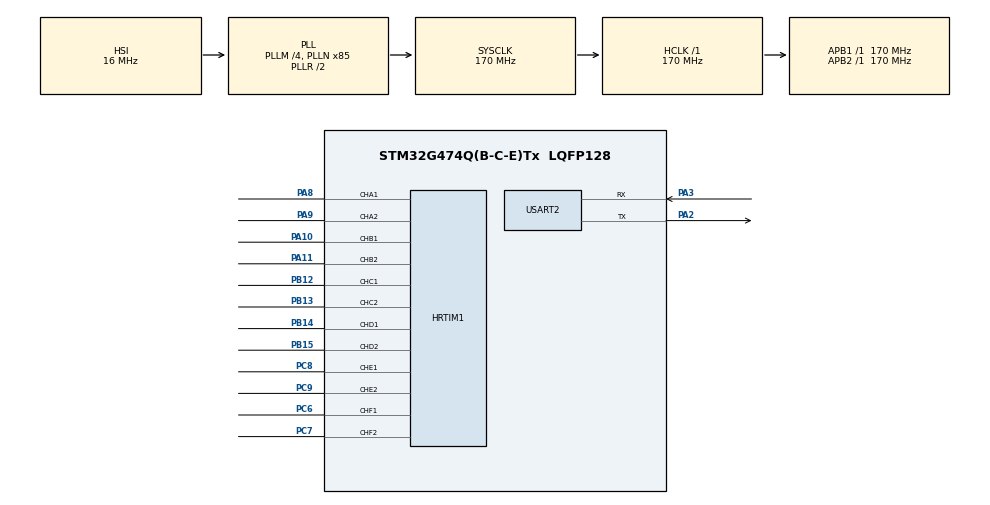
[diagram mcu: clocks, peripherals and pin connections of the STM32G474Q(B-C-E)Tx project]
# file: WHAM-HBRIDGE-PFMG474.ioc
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HRTIM1.PrescalerRatio_MASTER=HRTIM_PRESCALERRATIO_DIV1
HRTIM1.PrescalerRatio_TA=HRTIM_PRESCALERRATIO_DIV1
HRTIM1.PrescalerRatio_TB=HRTIM_PRESCALERRATIO_DIV1
HRTIM1.PrescalerRatio_TC=HRTIM_PRESCALERRATIO_DIV1
HRTIM1.PrescalerRatio_TD=HRTIM_PRESCALERRATIO_DIV1
HRTIM1.PrescalerRatio_TE=HRTIM_PRESCALERRATIO_DIV1
HRTIM1.PrescalerRatio_TF=HRTIM_PRESCALERRATIO_DIV1
Mcu.Family=STM32G4
Mcu.Name=STM32G474Q(B-C-E)Tx
Mcu.Package=LQFP128
NVIC.PriorityGroup=NVIC_PRIORITYGROUP_4
PA10.Mode=Output_TB1TB2
PA10.Signal=HRTIM1_CHB1
PA11.Mode=Output_TB1TB2
PA11.Signal=HRTIM1_CHB2
PA2.Mode=Asynchronous
PA2.Signal=USART2_TX
PA3.Mode=Asynchronous
PA3.Signal=USART2_RX
PA8.Mode=Output_TA1TA2
PA8.Signal=HRTIM1_CHA1
PA9.Mode=Output_TA1TA2
PA9.Signal=HRTIM1_CHA2
PB12.Mode=Output_TC1TC2
PB12.Signal=HRTIM1_CHC1
PB13.Mode=Output_TC1TC2
PB13.Signal=HRTIM1_CHC2
PB14.Mode=Output_TD1TD2
PB14.Signal=HRTIM1_CHD1
PB15.Mode=Output_TD1TD2
PB15.Signal=HRTIM1_CHD2
PC6.Mode=Output_TF1TF2
PC6.Signal=HRTIM1_CHF1
PC7.Mode=Output_TF1TF2
PC7.Signal=HRTIM1_CHF2
PC8.Mode=Output_TE1TE2
PC8.Signal=HRTIM1_CHE1
PC9.Mode=Output_TE1TE2
PC9.Signal=HRTIM1_CHE2
ProjectManager.HeapSize=0x200
ProjectManager.StackSize=0x400
ProjectManager.TargetToolchain=STM32CubeIDE
RCC.AHBFreq_Value=170000000
RCC.APB1Freq_Value=170000000
RCC.APB1TimFreq_Value=170000000
RCC.APB2Freq_Value=170000000
RCC.APB2TimFreq_Value=170000000
RCC.CortexFreq_Value=170000000
RCC.EXTERNAL_CLOCK_VALUE=12288000
RCC.HCLKFreq_Value=170000000
RCC.HSE_VALUE=8000000
RCC.HSI48_VALUE=48000000
RCC.HSI_VALUE=16000000
RCC.LSE_VALUE=32768
RCC.PLLM=RCC_PLLM_DIV4
RCC.PLLN=85
RCC.SYSCLKFreq_VALUE=170000000
RCC.SYSCLKSource=RCC_SYSCLKSOURCE_PLLCLK
RCC.USBFreq_Value=170000000
RCC.VCOOutputFreq_Value=340000000
USART2.VirtualMode-Asynchronous=VM_ASYNC
VP_HRTIM1_VS_hrtimMasterTimerNoOutput.Mode=MasterTimer
VP_SYS_VS_DBSignals.Mode=DisableDeadBatterySignals
board=custom

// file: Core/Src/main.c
/* USER CODE BEGIN Header */
/**
  ******************************************************************************
  * @file           : main.c
  * @brief          : Main program body
  ******************************************************************************
  * @attention
  *
  * Copyright (c) 2026 STMicroelectronics.
  * All rights reserved.
  *
  * This software is licensed under terms that can be found in the LICENSE file
  * in the root directory of this software component.
  * If no LICENSE file comes with this software, it is provided AS-IS.
  *
  ******************************************************************************
  */
/* USER CODE END Header */
#include "main.h"

/* USER CODE BEGIN Includes */
#include "app.h"
#include "boot_jump.h"
#include "board_io.h"
#include "boot_diag.h"
#include "hrtim_hw.h"
#include "mcu.h"
#include "uart_hw.h"
/* USER CODE END Includes */

UART_HandleTypeDef huart2;

void SystemClock_Config(void);
static void MX_GPIO_Init(void);
static void MX_USART2_UART_Init(void);
static void MX_HRTIM1_Init(void);

int main(void)
{

  /* USER CODE BEGIN 1 */

  /* Must be the very first thing that runs -- before HAL_Init() and
     therefore before any clock/peripheral configuration. See
     boot_jump.c: if cmd_boot() (over USART2) requested a bootloader
     entry on the last reset, this diverts into the ROM bootloader from
     this still-clean, just-reset state and never returns. Otherwise it
     returns immediately (always the case when BOOT_JUMP_FEATURE_ENABLED
     is 0) and startup proceeds normally below -- unconditional on
     purpose, so this call site never needs its own #if. */
  BootJump_CheckAndEnter();

  /* Boot diagnostics (boot_diag.h): keep the previous boot's record for
     the !BOOT banner and start this boot's. */
  BootDiag_Begin();

  /* USER CODE END 1 */

  /* MCU Configuration--------------------------------------------------------*/

  /* Reset of all peripherals, Initializes the Flash interface and the Systick. */
  HAL_Init();

  /* USER CODE BEGIN Init */
  /* Must run immediately after HAL_Init() -- HAL_InitTick() (called
     inside HAL_Init()) sets SysTick to its default TICK_INT_PRIORITY
     (15, the lowest possible), which this overrides. See
     Mcu_SetSysTickHighestPriority()'s own doc comment (mcu.c) for the full
     priority-inversion window this closes -- placed here, as early as
     possible, so nothing between here and HRTIM1_EnableMasterInterrupt()
     (which sets HRTIM1_Master_IRQn's priority, later in USER CODE 2)
     can be exposed to it, however briefly. Ported from the sibling
     PFM-STM32G474 project's main.c, same placement. */
  Mcu_SetSysTickHighestPriority();
  BOOT_DIAG_STAGE(BD_STAGE_HAL_INIT);
  /* USER CODE END Init */

  /* Configure the system clock */
  SystemClock_Config();

  /* USER CODE BEGIN SysInit */
  BOOT_DIAG_STAGE(BD_STAGE_CLOCK);
  /* USER CODE END SysInit */

  /* Initialize all configured peripherals */
  MX_GPIO_Init();
  MX_HRTIM1_Init();
  MX_USART2_UART_Init();
  /* USER CODE BEGIN 2 */
  uart_bind(&uart2, &huart2);
  App_Init();
  BOOT_DIAG_STAGE(BD_STAGE_APP_INIT);
  App_SendBootBanner();
  BOOT_DIAG_STAGE(BD_STAGE_MAIN_LOOP);
  /* USER CODE END 2 */

  /* Infinite loop */
  while (1)
  {

    /* USER CODE BEGIN 3 */
    App_Poll();
  }
  /* USER CODE END 3 */
}

void SystemClock_Config(void)
{
  RCC_OscInitTypeDef RCC_OscInitStruct = {0};
  RCC_ClkInitTypeDef RCC_ClkInitStruct = {0};

  /* Copied directly from the sibling PFM-STM32G474 project's
     SystemClock_Config() (170 MHz HSI/PLL config), not derived via
     CubeMX's own auto-resolve -- see AGENTS.md / docs/changelog.txt for
     why: enabling HRTIM1 through the CubeMX GUI on 2026-09-04 triggered
     its "resolve clock issues" auto-fix, which silently picked its own
     unrelated 104 MHz PLL config (PLLN=13) instead. hrtim.c's whole
     timing model -- HRTIM_TIMER_CLK_HZ, the hardcoded Period=1699 for
     100 kHz, the 17-count/100 ns dead time -- assumes exactly this
     170 MHz derivation (HSI 16 MHz / PLLM 4 * PLLN 85 / PLLR 2), matching
     V3's real, hardware-verified config. Voltage scale BOOST and
     FLASH_LATENCY_8 are both required at this SYSCLK -- don't drop
     either while "simplifying" this. */

  /** Configure the main internal regulator output voltage
  */
  HAL_PWREx_ControlVoltageScaling(PWR_REGULATOR_VOLTAGE_SCALE1_BOOST);

  /** Initializes the RCC Oscillators according to the specified parameters
  * in the RCC_OscInitTypeDef structure.
  */
  RCC_OscInitStruct.OscillatorType = RCC_OSCILLATORTYPE_HSI;
  RCC_OscInitStruct.HSIState = RCC_HSI_ON;
  RCC_OscInitStruct.HSICalibrationValue = RCC_HSICALIBRATION_DEFAULT;
  RCC_OscInitStruct.PLL.PLLState = RCC_PLL_ON;
  RCC_OscInitStruct.PLL.PLLSource = RCC_PLLSOURCE_HSI;
  RCC_OscInitStruct.PLL.PLLM = RCC_PLLM_DIV4;
  RCC_OscInitStruct.PLL.PLLN = 85;
  RCC_OscInitStruct.PLL.PLLP = RCC_PLLP_DIV2;
  RCC_OscInitStruct.PLL.PLLQ = RCC_PLLQ_DIV2;
  RCC_OscInitStruct.PLL.PLLR = RCC_PLLR_DIV2;
  if (HAL_RCC_OscConfig(&RCC_OscInitStruct) != HAL_OK)
  {
    Error_Handler();
  }

  /** Initializes the CPU, AHB and APB buses clocks
  */
  RCC_ClkInitStruct.ClockType = RCC_CLOCKTYPE_HCLK|RCC_CLOCKTYPE_SYSCLK
                              |RCC_CLOCKTYPE_PCLK1|RCC_CLOCKTYPE_PCLK2;
  RCC_ClkInitStruct.SYSCLKSource = RCC_SYSCLKSOURCE_PLLCLK;
  RCC_ClkInitStruct.AHBCLKDivider = RCC_SYSCLK_DIV1;
  RCC_ClkInitStruct.APB1CLKDivider = RCC_HCLK_DIV1;
  RCC_ClkInitStruct.APB2CLKDivider = RCC_HCLK_DIV1;

  if (HAL_RCC_ClockConfig(&RCC_ClkInitStruct, FLASH_LATENCY_8) != HAL_OK)
  {
    Error_Handler();
  }
}

static void MX_HRTIM1_Init(void)
{
  HRTIM1_FullInit();
  /* USER CODE BEGIN HRTIM1_Init 2 */
  BOOT_DIAG_STAGE(BD_STAGE_HRTIM);
  /* USER CODE END HRTIM1_Init 2 */
}

static void MX_USART2_UART_Init(void)
{

  /* USER CODE BEGIN USART2_Init 1 */
  /* huart2.Init.BaudRate below is hand-set to 115200 -- raised from
     9600 on 2026-09-04 after a real-hardware experiment (9600 -> clean
     at 115200 -> garbled/mismatched at 921600, see docs/changelog.txt)
     specifically to speed up TABLE:STEP uploads (~20s -> ~3.3s for a
     500-entry table). This is a deliberate WHAM-HBRIDGE-PFMG474-only
     divergence from the sibling PFM-STM32G474 project, which still
     uses 9600 -- do not "fix" this to match V3 without checking
     docs/changelog.txt first. python/wham_serial_flash.py and
     python/pfm_table_upload.py's own APP_BAUD constants were updated
     to match; scpi.py takes baud on its own command line.

     This line lives in CubeMX-generated code, OUTSIDE any USER CODE
     marker -- a "Generate Code" from the .ioc (which has no explicit
     baud rate of its own) would reset it back to HAL's default. As it
     happens HAL's default IS 115200 right now, so a regen wouldn't be
     visibly wrong today -- but that's a coincidence, not a guarantee:
     if this value ever needs to change again, re-apply it here
     explicitly rather than trusting a regen to land on the right
     number by chance. */
  /* USER CODE END USART2_Init 1 */
  huart2.Instance = USART2;
  huart2.Init.BaudRate = 115200;
  huart2.Init.WordLength = UART_WORDLENGTH_8B;
  huart2.Init.StopBits = UART_STOPBITS_1;
  huart2.Init.Parity = UART_PARITY_NONE;
  huart2.Init.Mode = UART_MODE_TX_RX;
  huart2.Init.HwFlowCtl = UART_HWCONTROL_NONE;
  huart2.Init.OverSampling = UART_OVERSAMPLING_16;
  huart2.Init.OneBitSampling = UART_ONE_BIT_SAMPLE_DISABLE;
  huart2.Init.ClockPrescaler = UART_PRESCALER_DIV1;
  huart2.AdvancedInit.AdvFeatureInit = UART_ADVFEATURE_NO_INIT;
  if (HAL_UART_Init(&huart2) != HAL_OK)
  {
    Error_Handler();
  }
  if (HAL_UARTEx_SetTxFifoThreshold(&huart2, UART_TXFIFO_THRESHOLD_1_8) != HAL_OK)
  {
    Error_Handler();
  }
  if (HAL_UARTEx_SetRxFifoThreshold(&huart2, UART_RXFIFO_THRESHOLD_1_8) != HAL_OK)
  {
    Error_Handler();
  }
  if (HAL_UARTEx_DisableFifoMode(&huart2) != HAL_OK)
  {
    Error_Handler();
  }
  /* USER CODE BEGIN USART2_Init 2 */
  /* Required for uart.c's interrupt-driven receive (HAL_UART_Receive_IT)
     to actually fire HAL_UART_RxCpltCallback() -- without this, RX
     interrupts never reach the NVIC and the serial command parser
     never receives anything. Ported from the sibling PFM-STM32G474
     project, which hit exactly this failure mode.

     Priority 3 (was 2), moved down the same day HRTIM1_Master_IRQn
     moved from 1 to 2 (see that function's own doc comment in
     hrtim.c for why) -- keeps USART2 strictly below every other
     interrupt in this project's scheme, unchanged in relative
     position, just renumbered to make room. */
  /* *** 2026-11-09: priority 1 (was 3), the HBRIDGE counterpart of a bug found on the XREX controller. A byte that
     waits longer than one byte time (87 us at 115200) for this interrupt is overrun; the HAL then ends the
     receive, and before uart.c re-armed after an error the controller kept sending but never heard another
     command (the hub then reports "the controller is not connected"). XREX lost its bytes behind capture-DMA
     batches; here the heavier interrupts are the ADC DMA and the software table refill (FMAC vector), both at 2,
     so 2 would only tie with them: 1 lets USART2 preempt them and ties with HRTIM1_Master and the fault EXTI
     lines. Its handler is a few microseconds (one byte per 87 us at most). */
  HAL_NVIC_SetPriority(USART2_IRQn, 1U, 0U);
  HAL_NVIC_EnableIRQ(USART2_IRQn);
  BOOT_DIAG_STAGE(BD_STAGE_USART);
  /* USER CODE END USART2_Init 2 */

}

static void MX_GPIO_Init(void)
{

  /* GPIO Ports Clock Enable */
  __HAL_RCC_GPIOA_CLK_ENABLE();

  /* USER CODE BEGIN MX_GPIO_Init_2 */

  BoardIo_Init();
  BOOT_DIAG_STAGE(BD_STAGE_GPIO);

  /* USER CODE END MX_GPIO_Init_2 */
}

void Error_Handler(void)
{
  /* USER CODE BEGIN Error_Handler_Debug */
  /* User can add his own implementation to report the HAL error return state */
  __disable_irq();
  g_bootDiag.errCount++;
  g_bootDiag.errStage = g_bootDiag.lastStage;
  while (1)
  {
  }
  /* USER CODE END Error_Handler_Debug */
}
